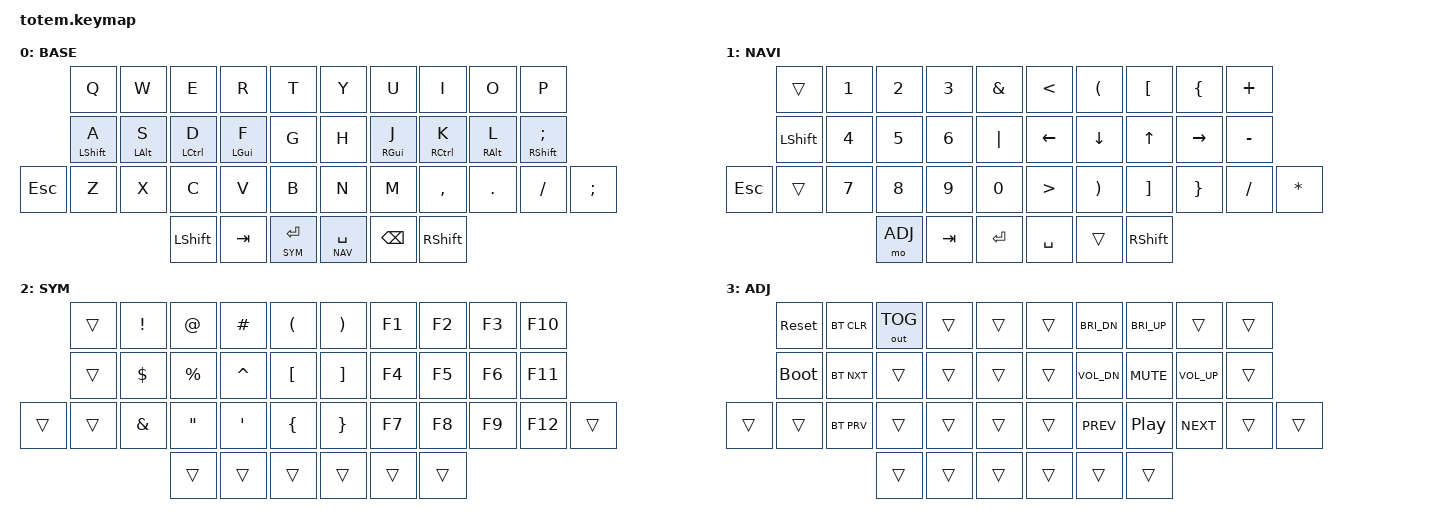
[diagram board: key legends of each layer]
//
//                                                        ▀▀▀▀▀     ▀▀▀▀▀          ▀▀█▀▀
//                                                        ▄▀▀▀▄  ▄  ▄▀▀▀▄  ▄  ▄▀▀▀▄  █  ▄▀▀▀▄
//                                                        █   █  █  █   █  █  █   █  █  █   █
//                                                         ▀▀▀   █   ▀▀▀   █   ▀▀▀   ▀   ▀▀▀
//                                                               █      ▄▄▄█▄▄▄    █   █  
//                                                               ▀      █  █  █     █▄█
//                                                             ▀▀▀▀▀    █  █  █      ▀
//                                                                      ▀  ▀  ▀
//
// ▄▄▄▄▄▄▄▄▄▄▄▄▄▄▄▄▄▄▄▄▄▄▄▄▄▄▄▄▄▄▄▄▄▄▄▄▄▄▄▄▄▄▄▄▄▄▄▄▄▄▄▄▄▄▄▄▄▄▄▄▄▄▄▄▄▄▄▄▄▄▄▄▄▄▄▄▄▄▄▄▄▄▄▄▄▄▄▄▄▄▄▄▄▄▄▄▄▄▄▄▄▄▄▄▄▄▄▄▄▄▄▄▄▄▄▄▄▄▄▄▄▄▄▄▄▄▄▄▄▄▄▄▄▄▄▄▄▄▄▄▄▄▄▄▄▄▄▄▄
       

#include <behaviors.dtsi>
#include <dt-bindings/zmk/keys.h>
#include <dt-bindings/zmk/bt.h>
#include <dt-bindings/zmk/outputs.h>

#define BASE 0
#define NAV  1
#define SYM  2
#define ADJ  3

&mt {
  quick-tap-ms = <100>;
  global-quick-tap;
  flavor = "tap-preferred";
  tapping-term-ms = <170>;
};

/ {
    combos {
            compatible = "zmk,combos";
            combo_esc {
                timeout-ms = <50>;
                key-positions = <0 1>;
                bindings = <&kp ESC>;
            };
    };

    macros {
        gif: gif {
            label = "giphy";
            compatible = "zmk,behavior-macro";
            #binding-cells = <0>;
            bindings
                = <&macro_press &kp LSHFT>
                , <&macro_tap &kp N2>
                , <&macro_release &kp LSHFT>
                , <&macro_tap &kp G &kp I &kp F>
                ;
        };
    };

        keymap {
                compatible = "zmk,keymap";
// ▄▄▄▄▄▄▄▄▄▄▄▄▄▄▄▄▄▄▄▄▄▄▄▄▄▄▄▄▄▄▄▄▄▄▄▄▄▄▄▄▄▄▄▄▄▄▄▄▄▄▄▄▄▄▄▄▄▄▄▄▄▄▄▄▄▄▄▄▄▄▄▄▄▄▄▄▄▄▄▄▄▄▄▄▄▄▄▄▄▄▄▄▄▄▄▄▄▄▄▄▄▄▄▄▄▄▄▄▄▄▄▄▄▄▄▄▄▄▄▄▄▄▄▄▄▄▄▄▄▄▄▄▄▄▄▄▄▄▄▄▄▄▄▄▄▄▄▄▄

                base_layer {
// ┏━━━━━━━━━━━━━━━━━━━━━━━━━━━━━━━━━━━━━━━┓
label= "BASE"                              ;
// ┗━━━━━━━━━━━━━━━━━━━━━━━━━━━━━━━━━━━━━━━┛
//             ┏━━━━━━━━━━━┳━━━━━━━━━━━┳━━━━━━━━━━━┳━━━━━━━━━━━┳━━━━━━━━━━━┓   ┏━━━━━━━━━━━┳━━━━━━━━━━━┳━━━━━━━━━━━┳━━━━━━━━━━━┳━━━━━━━━━━━┓
//             ┃     Q     ┃     W     ┃     E     ┃     R     ┃     T     ┃   ┃     Y     ┃     U     ┃     I     ┃     O     ┃     P     ┃
//             ┣━━━━━━━━━━━╋━━━━━━━━━━━╋━━━━━━━━━━━╋━━━━━━━━━━━╋━━━━━━━━━━━┫   ┣━━━━━━━━━━━╋━━━━━━━━━━━╋━━━━━━━━━━━╋━━━━━━━━━━━╋━━━━━━━━━━━┫
//             ┃     A     ┃     S     ┃     D     ┃     F     ┃     G     ┃   ┃     H     ┃     J     ┃     K     ┃     L     ┃     ;     ┃
// ┏━━━━━━━━━━━╋━━━━━━━━━━━╋━━━━━━━━━━━╋━━━━━━━━━━━╋━━━━━━━━━━━╋━━━━━━━━━━━┫   ┣━━━━━━━━━━━╋━━━━━━━━━━━╋━━━━━━━━━━━╋━━━━━━━━━━━╋━━━━━━━━━━━╋━━━━━━━━━━━┓
// ┃   ESCAPE  ┃     Z     ┃     X     ┃     C     ┃     V     ┃     B     ┃   ┃     N     ┃     M     ┃     ,     ┃     .     ┃     /     ┃     :     ┃
// ┗━━━━━━━━━━━┻━━━━━━━━━━━┻━━━━━━━━━━━╋━━━━━━━━━━━╋━━━━━━━━━━━╋━━━━━━━━━━━┫   ┣━━━━━━━━━━━╋━━━━━━━━━━━╋━━━━━━━━━━━╋━━━━━━━━━━━┻━━━━━━━━━━━┻━━━━━━━━━━━┛
//                                     ┃   SHIFT   ┃    TAB    ┃   ENTER   ┃   ┃    SPC    ┃   BSPC    ┃   SHIFT   ┃
//                                     ┗━━━━━━━━━━━┻━━━━━━━━━━━┻━━━━━━━━━━━┛   ┗━━━━━━━━━━━┻━━━━━━━━━━━┻━━━━━━━━━━━┛
 bindings = <
// ╷           ╷           ╷           ╷           ╷            ╷           ╷   ╷           ╷           ╷           ╷           ╷           ╷           ╷

                &kp Q         &kp W       &kp E       &kp R       &kp T           &kp Y       &kp U       &kp I       &kp O       &kp P
                &mt LSHIFT A  &mt LALT S  &mt LCTRL D &mt LGUI F  &kp G           &kp H       &mt RGUI J  &mt RCTRL K &mt RALT L  &mt RSHIFT SEMI
    &kp ESC     &kp Z         &kp X       &kp C       &kp V       &kp B           &kp N       &kp M       &kp COMMA   &kp DOT     &kp SLASH        &kp SEMI
                                          &kp LSHIFT  &kp TAB     &lt SYM RET     &lt NAV SPACE &kp BSPC  &kp RSHIFT
                        >;
                };

// ▄▄▄▄▄▄▄▄▄▄▄▄▄▄▄▄▄▄▄▄▄▄▄▄▄▄▄▄▄▄▄▄▄▄▄▄▄▄▄▄▄▄▄▄▄▄▄▄▄▄▄▄▄▄▄▄▄▄▄▄▄▄▄▄▄▄▄▄▄▄▄▄▄▄▄▄▄▄▄▄▄▄▄▄▄▄▄▄▄▄▄▄▄▄▄▄▄▄▄▄▄▄▄▄▄▄▄▄▄▄▄▄▄▄▄▄▄▄▄▄▄▄▄▄▄▄▄▄▄▄▄▄▄▄▄▄▄▄▄▄▄▄▄▄▄▄▄▄▄


                nav_layer {
// ┏━━━━━━━━━━━━━━━━━━━━━━━━━━━━━━━━━━━━━━━┓
label= "NAVI"                              ;
// ┗━━━━━━━━━━━━━━━━━━━━━━━━━━━━━━━━━━━━━━━┛
//             ┏━━━━━━━━━━━┳━━━━━━━━━━━┳━━━━━━━━━━━┳━━━━━━━━━━━┳━━━━━━━━━━━┓   ┏━━━━━━━━━━━┳━━━━━━━━━━━┳━━━━━━━━━━━┳━━━━━━━━━━━┳━━━━━━━━━━━┓
//             ┃           ┃     1     ┃     2     ┃     3     ┃     &     ┃   ┃     <     ┃     (     ┃     [     ┃     {     ┃     +     ┃
//             ┣━━━━━━━━━━━╋━━━━━━━━━━━╋━━━━━━━━━━━╋━━━━━━━━━━━╋━━━━━━━━━━━┫   ┣━━━━━━━━━━━╋━━━━━━━━━━━╋━━━━━━━━━━━╋━━━━━━━━━━━╋━━━━━━━━━━━┫
//             ┃   SHIFT   ┃     4     ┃     5     ┃     6     ┃     |     ┃   ┃   LEFT    ┃    DOWN   ┃    UP     ┃   RIGHT   ┃     -     ┃
// ┏━━━━━━━━━━━╋━━━━━━━━━━━╋━━━━━━━━━━━╋━━━━━━━━━━━╋━━━━━━━━━━━╋━━━━━━━━━━━┫   ┣━━━━━━━━━━━╋━━━━━━━━━━━╋━━━━━━━━━━━╋━━━━━━━━━━━╋━━━━━━━━━━━╋━━━━━━━━━━━┓
// ┃  ESCAPE   ┃           ┃     7     ┃     8     ┃     9     ┃     0     ┃   ┃     >     ┃     )     ┃     ]     ┃     }     ┃     /     ┃     *     ┃
// ┗━━━━━━━━━━━┻━━━━━━━━━━━┻━━━━━━━━━━━╋━━━━━━━━━━━╋━━━━━━━━━━━╋━━━━━━━━━━━┫   ┣━━━━━━━━━━━╋━━━━━━━━━━━╋━━━━━━━━━━━╋━━━━━━━━━━━┻━━━━━━━━━━━┻━━━━━━━━━━━┛
//                                     ┃  ADJUST   ┃    TAB    ┃   ENTER   ┃   ┃    SPC    ┃           ┃   SHIFT   ┃
//                                     ┗━━━━━━━━━━━┻━━━━━━━━━━━┻━━━━━━━━━━━┛   ┗━━━━━━━━━━━┻━━━━━━━━━━━┻━━━━━━━━━━━┛
 bindings = <
// ╷           ╷           ╷           ╷           ╷           ╷           ╷   ╷           ╷           ╷           ╷           ╷           ╷           ╷

                &trans      &kp N1      &kp N2      &kp N3      &kp AMPS        &kp LT      &kp LPAR    &kp LBKT    &kp LBRC    &kp PLUS
                &kp LSHFT   &kp N4      &kp N5      &kp N6      &kp PIPE        &kp LEFT    &kp DOWN    &kp UP      &kp RIGHT   &kp MINUS
    &kp ESC     &trans      &kp N7      &kp N8      &kp N9      &kp N0          &kp GT      &kp RPAR    &kp RBKT    &kp RBRC    &kp FSLH    &kp STAR      
                                        &mo ADJ     &kp TAB     &kp RET         &kp SPACE   &trans      &kp RSHFT      
                        >;
                };

// ▄▄▄▄▄▄▄▄▄▄▄▄▄▄▄▄▄▄▄▄▄▄▄▄▄▄▄▄▄▄▄▄▄▄▄▄▄▄▄▄▄▄▄▄▄▄▄▄▄▄▄▄▄▄▄▄▄▄▄▄▄▄▄▄▄▄▄▄▄▄▄▄▄▄▄▄▄▄▄▄▄▄▄▄▄▄▄▄▄▄▄▄▄▄▄▄▄▄▄▄▄▄▄▄▄▄▄▄▄▄▄▄▄▄▄▄▄▄▄▄▄▄▄▄▄▄▄▄▄▄▄▄▄▄▄▄▄▄▄▄▄▄▄▄▄▄▄▄▄


                sim_layer {
// ┏━━━━━━━━━━━━━━━━━━━━━━━━━━━━━━━━━━━━━━━┓
label= "SYM"                               ;
// ┗━━━━━━━━━━━━━━━━━━━━━━━━━━━━━━━━━━━━━━━┛
//             ┏━━━━━━━━━━━┳━━━━━━━━━━━┳━━━━━━━━━━━┳━━━━━━━━━━━┳━━━━━━━━━━━┓   ┏━━━━━━━━━━━┳━━━━━━━━━━━┳━━━━━━━━━━━┳━━━━━━━━━━━┳━━━━━━━━━━━┓
//             ┃           ┃     !     ┃     @     ┃     #     ┃     (     ┃   ┃     )     ┃     F1    ┃     F2    ┃    F3     ┃    F10    ┃
//             ┣━━━━━━━━━━━╋━━━━━━━━━━━╋━━━━━━━━━━━╋━━━━━━━━━━━╋━━━━━━━━━━━┫   ┣━━━━━━━━━━━╋━━━━━━━━━━━╋━━━━━━━━━━━╋━━━━━━━━━━━╋━━━━━━━━━━━┫
//             ┃           ┃     $     ┃     %     ┃     ^     ┃     [     ┃   ┃     ]     ┃     F4    ┃     F5    ┃    F6     ┃    F11    ┃
// ┏━━━━━━━━━━━╋━━━━━━━━━━━╋━━━━━━━━━━━╋━━━━━━━━━━━╋━━━━━━━━━━━╋━━━━━━━━━━━┫   ┣━━━━━━━━━━━╋━━━━━━━━━━━╋━━━━━━━━━━━╋━━━━━━━━━━━╋━━━━━━━━━━━╋━━━━━━━━━━━┓
// ┃           ┃           ┃     &     ┃     ""    ┃     ''    ┃     {     ┃   ┃     }     ┃     F7    ┃     F8    ┃    F9     ┃    F12    ┃           ┃
// ┗━━━━━━━━━━━┻━━━━━━━━━━━┻━━━━━━━━━━━╋━━━━━━━━━━━╋━━━━━━━━━━━╋━━━━━━━━━━━┫   ┣━━━━━━━━━━━╋━━━━━━━━━━━╋━━━━━━━━━━━╋━━━━━━━━━━━┻━━━━━━━━━━━┻━━━━━━━━━━━┛
//                                     ┃           ┃           ┃           ┃   ┃           ┃           ┃           ┃
//                                     ┗━━━━━━━━━━━┻━━━━━━━━━━━┻━━━━━━━━━━━┛   ┗━━━━━━━━━━━┻━━━━━━━━━━━┻━━━━━━━━━━━┛
 bindings = <
// ╷           ╷           ╷           ╷           ╷           ╷           ╷   ╷           ╷           ╷           ╷           ╷           ╷           ╷

                &trans      &kp EXCL    &kp AT      &kp HASH    &kp LPAR        &kp RPAR    &kp F1      &kp F2      &kp F3      &kp F10
                &trans      &kp DLLR    &kp PRCNT   &kp CARET   &kp LBKT        &kp RBKT    &kp F4      &kp F5      &kp F6      &kp F11  
    &trans      &trans      &kp AMPS    &kp DQT     &kp SQT     &kp LBRC        &kp RBRC    &kp F7      &kp F8      &kp F9      &kp F12     &trans         
                                        &trans      &trans      &trans          &trans      &trans      &trans      
                        >;
                };

// ▄▄▄▄▄▄▄▄▄▄▄▄▄▄▄▄▄▄▄▄▄▄▄▄▄▄▄▄▄▄▄▄▄▄▄▄▄▄▄▄▄▄▄▄▄▄▄▄▄▄▄▄▄▄▄▄▄▄▄▄▄▄▄▄▄▄▄▄▄▄▄▄▄▄▄▄▄▄▄▄▄▄▄▄▄▄▄▄▄▄▄▄▄▄▄▄▄▄▄▄▄▄▄▄▄▄▄▄▄▄▄▄▄▄▄▄▄▄▄▄▄▄▄▄▄▄▄▄▄▄▄▄▄▄▄▄▄▄▄▄▄▄▄▄▄▄▄▄▄


                adjust_layer {
// ┏━━━━━━━━━━━━━━━━━━━━━━━━━━━━━━━━━━━━━━━┓
label= "ADJ"                               ;
// ┗━━━━━━━━━━━━━━━━━━━━━━━━━━━━━━━━━━━━━━━┛
//             ┏━━━━━━━━━━━┳━━━━━━━━━━━┳━━━━━━━━━━━┳━━━━━━━━━━━┳━━━━━━━━━━━┓   ┏━━━━━━━━━━━┳━━━━━━━━━━━┳━━━━━━━━━━━┳━━━━━━━━━━━┳━━━━━━━━━━━┓
//             ┃   RESET   ┃ BT CLEAR  ┃  OUT TOG  ┃           ┃           ┃   ┃           ┃  BRI -    ┃  BRI +    ┃           ┃           ┃
//             ┣━━━━━━━━━━━╋━━━━━━━━━━━╋━━━━━━━━━━━╋━━━━━━━━━━━╋━━━━━━━━━━━┫   ┣━━━━━━━━━━━╋━━━━━━━━━━━╋━━━━━━━━━━━╋━━━━━━━━━━━╋━━━━━━━━━━━┫
//             ┃ BOOTLOAD  ┃ BT NEXT   ┃           ┃           ┃           ┃   ┃           ┃  VOL -    ┃    MUTE   ┃    VOL +  ┃           ┃
// ┏━━━━━━━━━━━╋━━━━━━━━━━━╋━━━━━━━━━━━╋━━━━━━━━━━━╋━━━━━━━━━━━╋━━━━━━━━━━━┫   ┣━━━━━━━━━━━╋━━━━━━━━━━━╋━━━━━━━━━━━╋━━━━━━━━━━━╋━━━━━━━━━━━╋━━━━━━━━━━━┓
// ┃           ┃           ┃ BT PREV   ┃           ┃           ┃           ┃   ┃           ┃    PREV   ┃    PP     ┃    NEXT   ┃           ┃           ┃
// ┗━━━━━━━━━━━┻━━━━━━━━━━━┻━━━━━━━━━━━╋━━━━━━━━━━━╋━━━━━━━━━━━╋━━━━━━━━━━━┫   ┣━━━━━━━━━━━╋━━━━━━━━━━━╋━━━━━━━━━━━╋━━━━━━━━━━━┻━━━━━━━━━━━┻━━━━━━━━━━━┛
//                                     ┃           ┃           ┃           ┃   ┃           ┃           ┃           ┃
//                                     ┗━━━━━━━━━━━┻━━━━━━━━━━━┻━━━━━━━━━━━┛   ┗━━━━━━━━━━━┻━━━━━━━━━━━┻━━━━━━━━━━━┛
bindings = <
// ╷           ╷           ╷           ╷           ╷           ╷           ╷   ╷           ╷           ╷           ╷           ╷           ╷           ╷

                &sys_reset  &bt BT_CLR  &out OUT_TOG &trans     &trans          &trans      &kp C_BRI_DN &kp C_BRI_UP &trans      &trans
                &bootloader &bt BT_NXT  &trans       &trans     &trans          &trans      &kp C_VOL_DN &kp C_MUTE   &kp C_VOL_UP &trans  
    &trans      &trans      &bt BT_PRV  &trans       &trans     &trans          &trans      &kp C_PREV   &kp C_PP     &kp C_NEXT   &trans     &trans         
                                        &trans       &trans     &trans          &trans      &trans       &trans      
                        >;
                };
};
